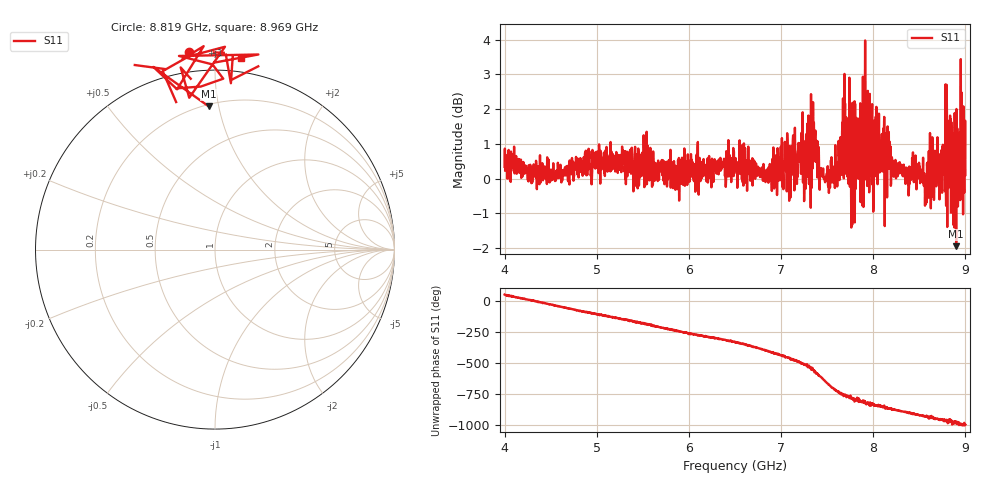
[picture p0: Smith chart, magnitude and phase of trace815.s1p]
! Created with skrf 1.8.0 (http://scikit-rf.org).
# Hz S RI R 50.0
!freq ReS11 ImS11
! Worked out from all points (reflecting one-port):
!   1601 points, 4 GHz to 9 GHz, reference 50 ohm
!   lowest |S11| = -1.9 dB at 8.9 GHz (marker M1), VSWR 8.97, Z = 10.6 + j46.7 ohm
!   phase of S11 starts at 53 deg and turns -1052 deg over the sweep
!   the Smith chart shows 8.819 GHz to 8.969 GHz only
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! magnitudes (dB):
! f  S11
! 4 GHz  0.3
! 4.625 GHz  -0.1
! 5.25 GHz  0.3
! 5.875 GHz  0.0
! 6.5 GHz  0.4
! 6.838 GHz  0.2
! 7.125 GHz  0.9
! 7.253 GHz  0.0
! 7.362 GHz  1.2
! 7.438 GHz  0.2
! 7.509 GHz  -0.2
! 7.634 GHz  0.0
! 7.669 GHz  1.2
! 7.75 GHz  0.5
! 7.784 GHz  0.5
! 7.822 GHz  0.8
! 7.875 GHz  1.1
! 7.928 GHz  0.5
! 7.997 GHz  0.7
! 8.05 GHz  1.7
! 8.375 GHz  0.2
! 8.575 GHz  0.0
! 8.619 GHz  -0.1
! 8.766 GHz  0.8
! 8.809 GHz  0.8
! 8.9 GHz  -1.9
! 8.956 GHz  0.4
! 9 GHz  0.1
